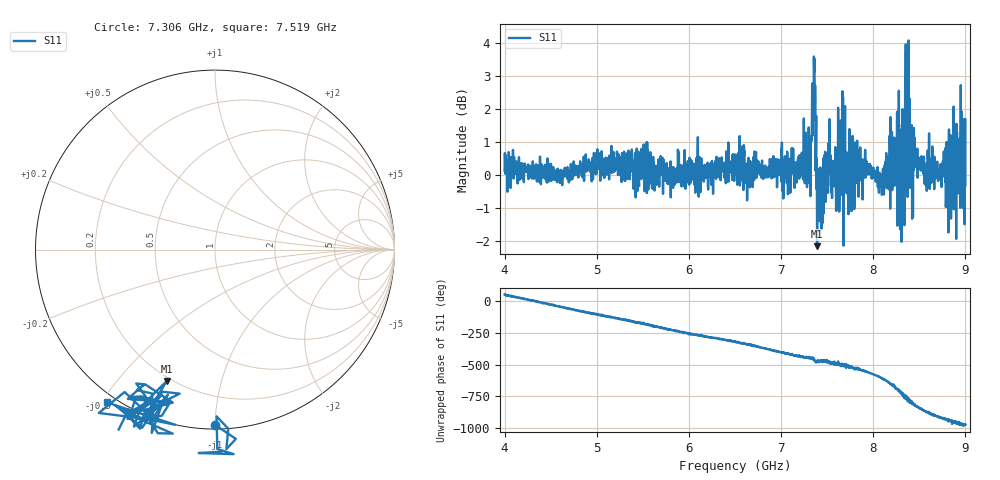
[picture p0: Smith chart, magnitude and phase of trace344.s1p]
! Created with skrf 1.8.0 (http://scikit-rf.org).
# Hz S RI R 50.0
!freq ReS11 ImS11
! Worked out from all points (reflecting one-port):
!   1601 points, 4 GHz to 9 GHz, reference 50 ohm
!   lowest |S11| = -2.2 dB at 7.391 GHz (marker M1), VSWR 8.10, Z = 9.12 - j34.1 ohm
!   phase of S11 starts at 54 deg and turns -1030 deg over the sweep
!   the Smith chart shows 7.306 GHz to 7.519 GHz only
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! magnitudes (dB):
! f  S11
! 4 GHz  0.1
! 4.625 GHz  -0.3
! 5.25 GHz  0.1
! 5.875 GHz  0.0
! 6.5 GHz  0.1
! 7.125 GHz  0.4
! 7.294 GHz  -0.2
! 7.347 GHz  2.7
! 7.362 GHz  3.5
! 7.391 GHz  -2.2
! 7.409 GHz  -1.0
! 7.428 GHz  -1.4
! 7.509 GHz  -0.5
! 7.588 GHz  0.8
! 7.669 GHz  0.6
! 7.75 GHz  -0.6
! 7.85 GHz  -0.1
! 8.097 GHz  0.0
! 8.259 GHz  1.9
! 8.316 GHz  1.4
! 8.334 GHz  -0.7
! 8.356 GHz  1.8
! 8.375 GHz  0.0
! 8.425 GHz  -0.2
! 8.556 GHz  -0.3
! 8.875 GHz  -1.0
! 8.956 GHz  -0.2
! 9 GHz  -0.3
